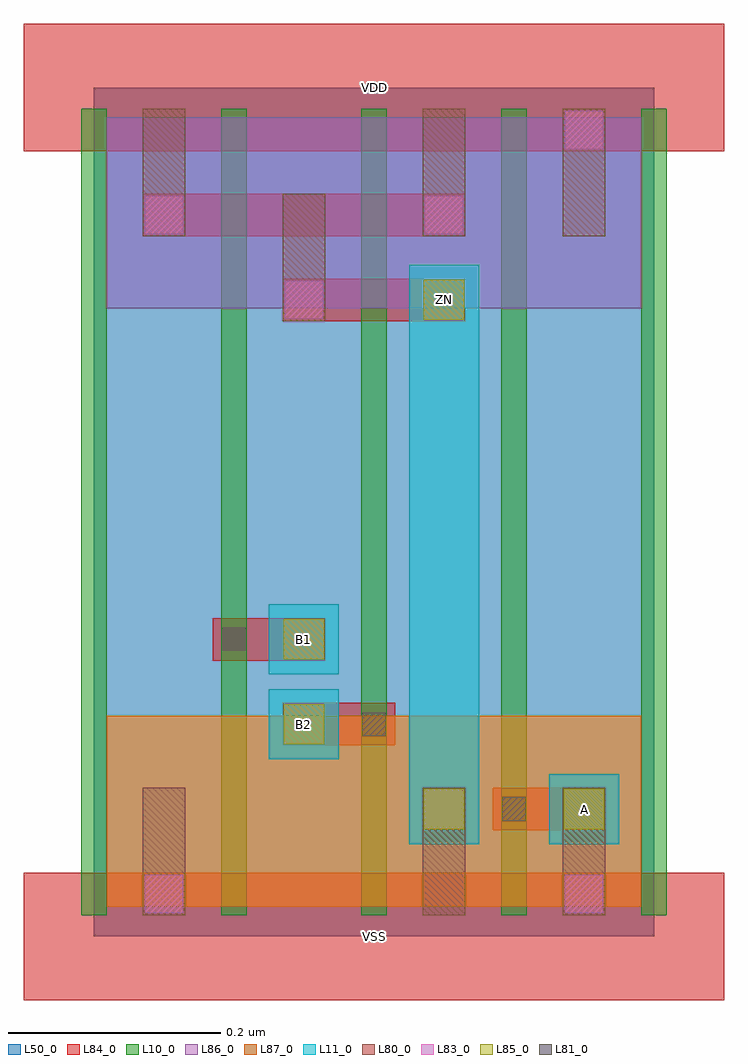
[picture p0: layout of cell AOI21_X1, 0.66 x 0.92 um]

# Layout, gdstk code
import gdstk
lib = gdstk.Library(unit=1e-6, precision=1e-09)
def R(c, l, rs):  # rectangles x0, y0, x1, y1
    for r in rs: c.add(gdstk.rectangle(r[:2], r[2:], *l))
def A(c, l, x, y, w, h, nx, ny, dx, dy):  # array of equal rectangles
    R(c, l, [(x+i*dx, y+j*dy, x+i*dx+w, y+j*dy+h) for i in range(nx) for j in range(ny)])
L10_0 = (10, 0)
L11_0 = (11, 0)
L50_0 = (50, 0)
L80_0 = (80, 0)
L81_0 = (81, 0)
L83_0 = (83, 0)
L84_0 = (84, 0)
L85_0 = (85, 0)
L86_0 = (86, 0)
L87_0 = (87, 0)

aoi21_x1 = lib.new_cell('AOI21_X1')
A(aoi21_x1, L10_0, -0.012, 0.02, 0.024, 0.76, 5, 1, 0.132, 0)
R(aoi21_x1, L11_0, [(0.297,0.087,0.363,0.633), (0.429,0.087,0.495,0.153), (0.165,0.167,0.231,0.233), (0.165,0.247,0.231,0.313)])
R(aoi21_x1, L50_0, [(0,0,0.528,0.8)])
R(aoi21_x1, L80_0, [(0.046,0.02,0.086,0.14), (0.31,0.02,0.35,0.14), (0.442,0.02,0.482,0.14), (0.178,0.58,0.218,0.7), (0.046,0.66,0.086,0.78), (0.31,0.66,0.35,0.78), (0.442,0.66,0.482,0.78)])
R(aoi21_x1, L81_0, [(0.385,0.109,0.407,0.131), (0.253,0.189,0.275,0.211), (0.121,0.269,0.143,0.291)])
R(aoi21_x1, L83_0, [(0.048,0.022,0.084,0.058), (0.444,0.022,0.48,0.058), (0.312,0.102,0.348,0.138), (0.18,0.582,0.216,0.618), (0.048,0.662,0.084,0.698), (0.312,0.662,0.348,0.698), (0.444,0.742,0.48,0.778)])
R(aoi21_x1, L84_0, [(-0.066,-0.06,0.594,0.06), (0.31,0.1,0.35,0.14), (0.376,0.1,0.482,0.14), (0.178,0.18,0.284,0.22), (0.112,0.26,0.218,0.3), (0.178,0.58,0.35,0.62), (0.046,0.66,0.35,0.7), (-0.066,0.74,0.594,0.86)])
R(aoi21_x1, L85_0, [(0.311,0.101,0.349,0.139), (0.443,0.101,0.481,0.139), (0.179,0.181,0.217,0.219), (0.179,0.261,0.217,0.299), (0.311,0.581,0.349,0.619)])
R(aoi21_x1, L86_0, [(0.012,0.592,0.516,0.772)])
R(aoi21_x1, L87_0, [(0.012,0.028,0.516,0.208)])
aoi21_x1.add(gdstk.Label('VDD', (0.264,0.8), layer=88, texttype=0))
aoi21_x1.add(gdstk.Label('VSS', (0.264,0), layer=88, texttype=0))
aoi21_x1.add(gdstk.Label('ZN', (0.33,0.6), layer=31, texttype=0))
aoi21_x1.add(gdstk.Label('A', (0.462,0.12), layer=31, texttype=0))
aoi21_x1.add(gdstk.Label('B2', (0.198,0.2), layer=31, texttype=0))
aoi21_x1.add(gdstk.Label('B1', (0.198,0.28), layer=31, texttype=0))

lib.write_gds('AOI21_X1.gds')
